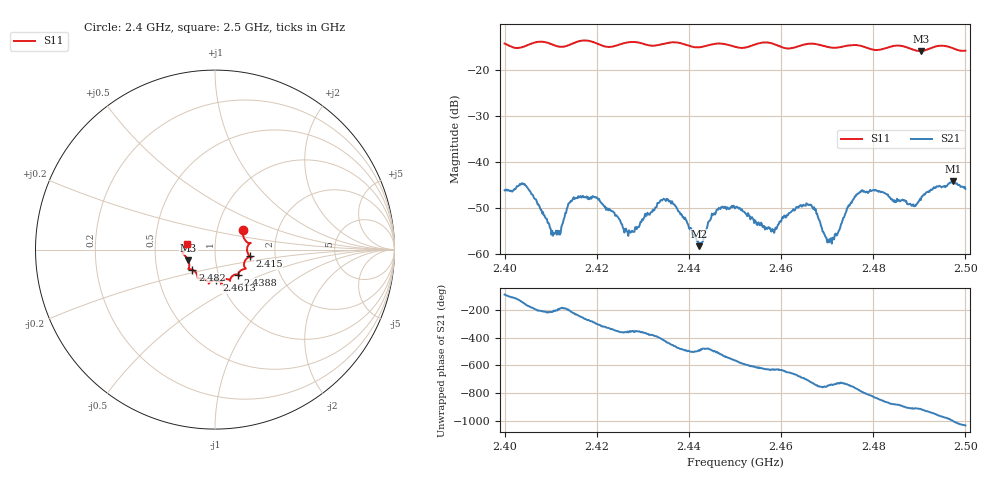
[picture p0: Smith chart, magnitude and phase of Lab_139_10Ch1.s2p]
# Hz S RI R 50
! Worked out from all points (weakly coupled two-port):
!   601 points, 2.4 GHz to 2.5 GHz, reference 50 ohm
!   highest |S21| = -44.20 dB at 2.4973 GHz (marker M1); lowest = -58.3 dB at 2.4422 GHz (marker M2)
!   lowest |S11| = -15.9 dB at 2.4903 GHz (marker M3), VSWR 1.38, Z = 36.8 - j4.46 ohm
!   |S11| at or under -10 dB: start of sweep to end of sweep
!   S12 and S22 are empty: the file has one direction only
!   S11 on the Smith chart (normalised r, x): 2.4 GHz: 1.33, +0.31; 2.415 GHz: 1.47, -0.11; 2.4388 GHz: 1.24, -0.36; 2.4613 GHz: 0.96, -0.34; 2.482 GHz: 0.76, -0.17; 2.5 GHz: 0.72, +0.05
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2.4e9  0.1579 0.112  0.000242 -0.00493  0 0  0 0
2.4045e9  0.1768 0.0426  -0.00517 -0.00209  0 0  0 0
2.410667e9  0.1847 0.0241  -0.00154 0.00067  0 0  0 0
2.415e9  0.1923 -0.0364  -0.00308 0.00277  0 0  0 0
2.416667e9  0.2033 -0.044  -0.00136 0.00388  0 0  0 0
2.420167e9  0.1877 -0.0432  0.00212 0.00345  0 0  0 0
2.427e9  0.1709 -0.1047  0.00181 0.000128  0 0  0 0
2.433333e9  0.1323 -0.1315  0.00288 -0.00212  0 0  0 0
2.438833e9  0.1296 -0.1407  -0.00148 -0.00203  0 0  0 0
2.442167e9  0.0978 -0.1465  -0.000778 -0.000938  0 0  0 0
2.446e9  0.084 -0.1741  -0.00233 -0.00192  0 0  0 0
2.45e9  0.069 -0.1649  -0.00286 0.00128  0 0  0 0
2.458e9  0.0377 -0.1911  -1.53e-05 0.00177  0 0  0 0
2.461333e9  0.00771 -0.171  0.000913 0.00252  0 0  0 0
2.466667e9  -0.0348 -0.1901  0.0033 -0.000221  0 0  0 0
2.4705e9  -0.0485 -0.1697  0.00124 -0.000533  0 0  0 0
2.4765e9  -0.0961 -0.159  0.00288 -0.00337  0 0  0 0
2.482e9  -0.1258 -0.1117  -0.00336 -0.00333  0 0  0 0
2.483333e9  -0.1394 -0.1087  -0.00365 -0.00211  0 0  0 0
2.490333e9  -0.1492 -0.059  -0.00374 0.000991  0 0  0 0
2.497333e9  -0.1713 -0.00803  0.00133 0.00602  0 0  0 0
2.5e9  -0.1587 0.0325  0.00357 0.00367  0 0  0 0
